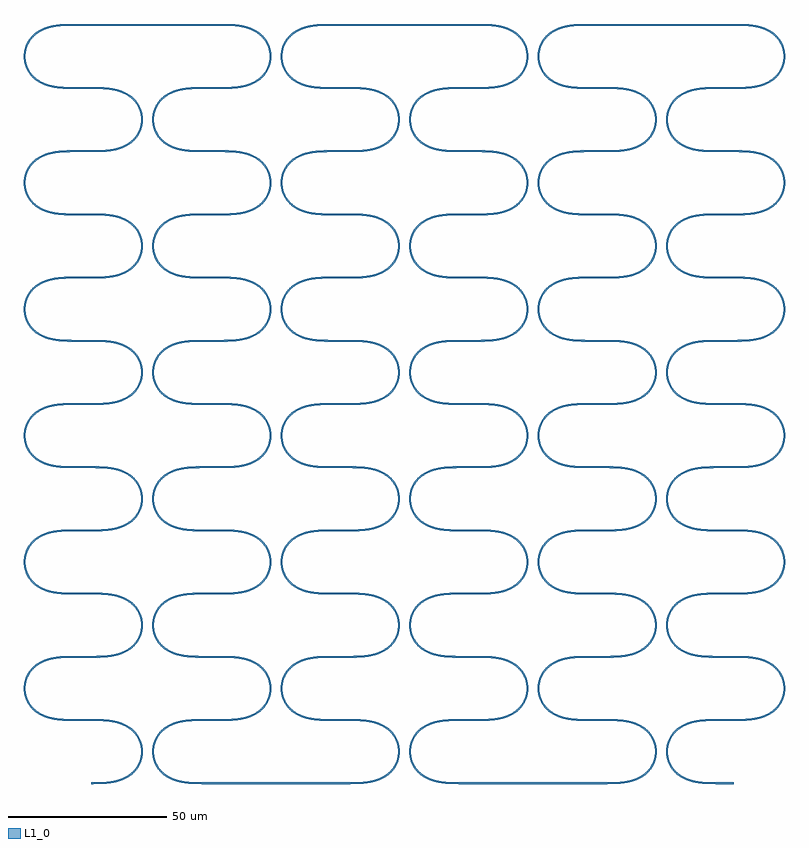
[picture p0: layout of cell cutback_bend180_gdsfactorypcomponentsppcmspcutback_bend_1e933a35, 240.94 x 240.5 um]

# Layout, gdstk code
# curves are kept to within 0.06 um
from math import pi, radians
import gdstk
lib = gdstk.Library(unit=1e-6, precision=1e-09)
def R(c, l, rs):  # rectangles x0, y0, x1, y1
    for r in rs: c.add(gdstk.rectangle(r[:2], r[2:], *l))
def P(c, l, *ps):  # polygons
    for p in ps: c.add(gdstk.Polygon(p, *l))
L1_0 = (1, 0)

bend_euler_gdsfactorypco = lib.new_cell('bend_euler_gdsfactorypcomponentspbendspbend_euler_RNone_4bc9c422')
P(bend_euler_gdsfactorypco, L1_0, [(0,-0.25),(0,0.25),(4.503,0.368),(6.214,0.563),(7.73,0.858),(9.845,1.539),(11.655,2.481),(12.614,3.182),(13.475,3.996),(14.121,4.779),(14.755,5.779),(15.188,6.697),(15.556,7.822),(15.77,8.987),(15.828,10),(15.77,11.013),(15.556,12.178),(15.188,13.303),(14.755,14.221),(14.121,15.221),(13.475,16.004),(12.614,16.818),(11.655,17.519),(9.845,18.461),(7.73,19.142),(6.214,19.437),(4.503,19.632),(0,19.75),(0,20.25),(4.192,20.156),(7.158,19.779),(8.531,19.447),(9.707,19.055),(10.844,18.555),(12.075,17.842),(13.594,16.602),(14.73,15.224),(15.583,13.655),(16.122,11.953),(16.267,11.071),(16.328,10),(16.157,8.222),(15.893,7.183),(15.583,6.345),(14.73,4.776),(13.594,3.398),(12.368,2.361),(10.844,1.445),(9.207,0.765),(7.331,0.256),(5.417,-0.047),(2.967,-0.217)])

straight_gdsfactorypcomp = lib.new_cell('straight_gdsfactorypcomponentspwaveguidespstraight_L5_N_32b584f5')
R(straight_gdsfactorypcomp, L1_0, [(0,-0.25,5,0.25)])

c_straight_gdsfactorypcomp = lib.new_cell('straight_gdsfactorypcomponentspwaveguidespstraight_L40p_f632f63e')
R(c_straight_gdsfactorypcomp, L1_0, [(0,-0.25,40.656,0.25)])

cutback_bend180_gdsfacto = lib.new_cell('cutback_bend180_gdsfactorypcomponentsppcmspcutback_bend_1e933a35')
cutback_bend180_gdsfacto.add(gdstk.Reference(bend_euler_gdsfactorypco, (-5,120), rotation=pi))
cutback_bend180_gdsfacto.add(gdstk.Reference(straight_gdsfactorypcomp, (-5,120)))
cutback_bend180_gdsfacto.add(gdstk.Reference(bend_euler_gdsfactorypco, (0,120)))
cutback_bend180_gdsfacto.add(gdstk.Reference(bend_euler_gdsfactorypco, (35.656,140), rotation=pi))
cutback_bend180_gdsfacto.add(gdstk.Reference(straight_gdsfactorypcomp, (35.656,120)))
cutback_bend180_gdsfacto.add(gdstk.Reference(bend_euler_gdsfactorypco, (40.656,100)))
cutback_bend180_gdsfacto.add(gdstk.Reference(bend_euler_gdsfactorypco, (76.312,120), rotation=pi))
cutback_bend180_gdsfacto.add(gdstk.Reference(straight_gdsfactorypcomp, (76.312,120)))
cutback_bend180_gdsfacto.add(gdstk.Reference(bend_euler_gdsfactorypco, (81.312,120)))
cutback_bend180_gdsfacto.add(gdstk.Reference(c_straight_gdsfactorypcomp, (81.312,240)))
cutback_bend180_gdsfacto.add(gdstk.Reference(bend_euler_gdsfactorypco, (116.968,140), rotation=pi))
cutback_bend180_gdsfacto.add(gdstk.Reference(straight_gdsfactorypcomp, (116.968,120)))
cutback_bend180_gdsfacto.add(gdstk.Reference(bend_euler_gdsfactorypco, (121.968,100)))
cutback_bend180_gdsfacto.add(gdstk.Reference(bend_euler_gdsfactorypco, (157.624,120), rotation=pi))
cutback_bend180_gdsfacto.add(gdstk.Reference(straight_gdsfactorypcomp, (157.624,120)))
cutback_bend180_gdsfacto.add(gdstk.Reference(bend_euler_gdsfactorypco, (162.624,120)))
cutback_bend180_gdsfacto.add(gdstk.Reference(bend_euler_gdsfactorypco, (198.28,140), rotation=pi))
cutback_bend180_gdsfacto.add(gdstk.Reference(straight_gdsfactorypcomp, (198.28,120)))
cutback_bend180_gdsfacto.add(gdstk.Reference(bend_euler_gdsfactorypco, (203.28,100)))
cutback_bend180_gdsfacto.add(gdstk.Reference(straight_gdsfactorypcomp, (121.968,140), rotation=pi))
cutback_bend180_gdsfacto.add(gdstk.Reference(bend_euler_gdsfactorypco, (121.968,220)))
cutback_bend180_gdsfacto.add(gdstk.Reference(straight_gdsfactorypcomp, (121.968,220), rotation=pi))
cutback_bend180_gdsfacto.add(gdstk.Reference(bend_euler_gdsfactorypco, (116.968,220), rotation=pi))
cutback_bend180_gdsfacto.add(gdstk.Reference(straight_gdsfactorypcomp, (116.968,200)))
cutback_bend180_gdsfacto.add(gdstk.Reference(bend_euler_gdsfactorypco, (121.968,180)))
cutback_bend180_gdsfacto.add(gdstk.Reference(straight_gdsfactorypcomp, (121.968,180), rotation=pi))
cutback_bend180_gdsfacto.add(gdstk.Reference(straight_gdsfactorypcomp, (162.624,140), rotation=pi))
cutback_bend180_gdsfacto.add(gdstk.Reference(bend_euler_gdsfactorypco, (157.624,160), rotation=pi))
cutback_bend180_gdsfacto.add(gdstk.Reference(straight_gdsfactorypcomp, (157.624,160)))
cutback_bend180_gdsfacto.add(gdstk.Reference(bend_euler_gdsfactorypco, (162.624,160)))
cutback_bend180_gdsfacto.add(gdstk.Reference(straight_gdsfactorypcomp, (162.624,180), rotation=pi))
cutback_bend180_gdsfacto.add(gdstk.Reference(bend_euler_gdsfactorypco, (157.624,200), rotation=pi))
cutback_bend180_gdsfacto.add(gdstk.Reference(straight_gdsfactorypcomp, (157.624,200)))
cutback_bend180_gdsfacto.add(gdstk.Reference(bend_euler_gdsfactorypco, (162.624,200)))
cutback_bend180_gdsfacto.add(gdstk.Reference(straight_gdsfactorypcomp, (162.624,220), rotation=pi))
cutback_bend180_gdsfacto.add(gdstk.Reference(bend_euler_gdsfactorypco, (157.624,240), rotation=pi))
cutback_bend180_gdsfacto.add(gdstk.Reference(straight_gdsfactorypcomp, (157.624,240)))
cutback_bend180_gdsfacto.add(gdstk.Reference(c_straight_gdsfactorypcomp, (162.624,240)))
cutback_bend180_gdsfacto.add(gdstk.Reference(bend_euler_gdsfactorypco, (203.28,220)))
cutback_bend180_gdsfacto.add(gdstk.Reference(straight_gdsfactorypcomp, (203.28,220), rotation=pi))
cutback_bend180_gdsfacto.add(gdstk.Reference(bend_euler_gdsfactorypco, (198.28,220), rotation=pi))
cutback_bend180_gdsfacto.add(gdstk.Reference(straight_gdsfactorypcomp, (198.28,200)))
cutback_bend180_gdsfacto.add(gdstk.Reference(bend_euler_gdsfactorypco, (203.28,180)))
cutback_bend180_gdsfacto.add(gdstk.Reference(straight_gdsfactorypcomp, (203.28,180), rotation=pi))
cutback_bend180_gdsfacto.add(gdstk.Reference(bend_euler_gdsfactorypco, (198.28,180), rotation=pi))
cutback_bend180_gdsfacto.add(gdstk.Reference(straight_gdsfactorypcomp, (198.28,160)))
cutback_bend180_gdsfacto.add(gdstk.Reference(bend_euler_gdsfactorypco, (203.28,140)))
cutback_bend180_gdsfacto.add(gdstk.Reference(straight_gdsfactorypcomp, (203.28,140), rotation=pi))
cutback_bend180_gdsfacto.add(gdstk.Reference(bend_euler_gdsfactorypco, (116.968,180), rotation=pi))
cutback_bend180_gdsfacto.add(gdstk.Reference(straight_gdsfactorypcomp, (116.968,160)))
cutback_bend180_gdsfacto.add(gdstk.Reference(bend_euler_gdsfactorypco, (121.968,140)))
cutback_bend180_gdsfacto.add(gdstk.Reference(straight_gdsfactorypcomp, (35.656,200)))
cutback_bend180_gdsfacto.add(gdstk.Reference(bend_euler_gdsfactorypco, (40.656,180)))
cutback_bend180_gdsfacto.add(gdstk.Reference(straight_gdsfactorypcomp, (40.656,180), rotation=pi))
cutback_bend180_gdsfacto.add(gdstk.Reference(bend_euler_gdsfactorypco, (35.656,180), rotation=pi))
cutback_bend180_gdsfacto.add(gdstk.Reference(straight_gdsfactorypcomp, (35.656,160)))
cutback_bend180_gdsfacto.add(gdstk.Reference(bend_euler_gdsfactorypco, (40.656,140)))
cutback_bend180_gdsfacto.add(gdstk.Reference(straight_gdsfactorypcomp, (40.656,140), rotation=pi))
cutback_bend180_gdsfacto.add(gdstk.Reference(straight_gdsfactorypcomp, (0,140), rotation=pi))
cutback_bend180_gdsfacto.add(gdstk.Reference(bend_euler_gdsfactorypco, (-5,160), rotation=pi))
cutback_bend180_gdsfacto.add(gdstk.Reference(straight_gdsfactorypcomp, (-5,160)))
cutback_bend180_gdsfacto.add(gdstk.Reference(bend_euler_gdsfactorypco, (0,160)))
cutback_bend180_gdsfacto.add(gdstk.Reference(straight_gdsfactorypcomp, (0,180), rotation=pi))
cutback_bend180_gdsfacto.add(gdstk.Reference(bend_euler_gdsfactorypco, (-5,200), rotation=pi))
cutback_bend180_gdsfacto.add(gdstk.Reference(straight_gdsfactorypcomp, (81.312,140), rotation=pi))
cutback_bend180_gdsfacto.add(gdstk.Reference(bend_euler_gdsfactorypco, (76.312,160), rotation=pi))
cutback_bend180_gdsfacto.add(gdstk.Reference(straight_gdsfactorypcomp, (76.312,160)))
cutback_bend180_gdsfacto.add(gdstk.Reference(bend_euler_gdsfactorypco, (81.312,160)))
cutback_bend180_gdsfacto.add(gdstk.Reference(straight_gdsfactorypcomp, (81.312,180), rotation=pi))
cutback_bend180_gdsfacto.add(gdstk.Reference(bend_euler_gdsfactorypco, (76.312,200), rotation=pi))
cutback_bend180_gdsfacto.add(gdstk.Reference(straight_gdsfactorypcomp, (76.312,200)))
cutback_bend180_gdsfacto.add(gdstk.Reference(bend_euler_gdsfactorypco, (81.312,200)))
cutback_bend180_gdsfacto.add(gdstk.Reference(straight_gdsfactorypcomp, (81.312,220), rotation=pi))
cutback_bend180_gdsfacto.add(gdstk.Reference(bend_euler_gdsfactorypco, (76.312,240), rotation=pi))
cutback_bend180_gdsfacto.add(gdstk.Reference(straight_gdsfactorypcomp, (76.312,240)))
cutback_bend180_gdsfacto.add(gdstk.Reference(straight_gdsfactorypcomp, (-5,200)))
cutback_bend180_gdsfacto.add(gdstk.Reference(bend_euler_gdsfactorypco, (0,200)))
cutback_bend180_gdsfacto.add(gdstk.Reference(straight_gdsfactorypcomp, (0,220), rotation=pi))
cutback_bend180_gdsfacto.add(gdstk.Reference(bend_euler_gdsfactorypco, (-5,240), rotation=pi))
cutback_bend180_gdsfacto.add(gdstk.Reference(straight_gdsfactorypcomp, (-5,240)))
cutback_bend180_gdsfacto.add(gdstk.Reference(c_straight_gdsfactorypcomp, (0,240)))
cutback_bend180_gdsfacto.add(gdstk.Reference(bend_euler_gdsfactorypco, (40.656,220)))
cutback_bend180_gdsfacto.add(gdstk.Reference(straight_gdsfactorypcomp, (40.656,220), rotation=pi))
cutback_bend180_gdsfacto.add(gdstk.Reference(bend_euler_gdsfactorypco, (35.656,220), rotation=pi))
cutback_bend180_gdsfacto.add(gdstk.Reference(bend_euler_gdsfactorypco, (76.312,40), rotation=pi))
cutback_bend180_gdsfacto.add(gdstk.Reference(straight_gdsfactorypcomp, (76.312,40)))
cutback_bend180_gdsfacto.add(gdstk.Reference(bend_euler_gdsfactorypco, (81.312,40)))
cutback_bend180_gdsfacto.add(gdstk.Reference(straight_gdsfactorypcomp, (81.312,60), rotation=pi))
cutback_bend180_gdsfacto.add(gdstk.Reference(bend_euler_gdsfactorypco, (76.312,80), rotation=pi))
cutback_bend180_gdsfacto.add(gdstk.Reference(straight_gdsfactorypcomp, (76.312,80)))
cutback_bend180_gdsfacto.add(gdstk.Reference(bend_euler_gdsfactorypco, (81.312,80)))
cutback_bend180_gdsfacto.add(gdstk.Reference(straight_gdsfactorypcomp, (81.312,100), rotation=pi))
cutback_bend180_gdsfacto.add(gdstk.Reference(bend_euler_gdsfactorypco, (0,80)))
cutback_bend180_gdsfacto.add(gdstk.Reference(straight_gdsfactorypcomp, (0,100), rotation=pi))
cutback_bend180_gdsfacto.add(gdstk.Reference(bend_euler_gdsfactorypco, (0,0)))
cutback_bend180_gdsfacto.add(gdstk.Reference(straight_gdsfactorypcomp, (0,20), rotation=pi))
cutback_bend180_gdsfacto.add(gdstk.Reference(bend_euler_gdsfactorypco, (-5,40), rotation=pi))
cutback_bend180_gdsfacto.add(gdstk.Reference(straight_gdsfactorypcomp, (-5,40)))
cutback_bend180_gdsfacto.add(gdstk.Reference(bend_euler_gdsfactorypco, (0,40)))
cutback_bend180_gdsfacto.add(gdstk.Reference(straight_gdsfactorypcomp, (0,60), rotation=pi))
cutback_bend180_gdsfacto.add(gdstk.Reference(bend_euler_gdsfactorypco, (-5,80), rotation=pi))
cutback_bend180_gdsfacto.add(gdstk.Reference(straight_gdsfactorypcomp, (-5,80)))
cutback_bend180_gdsfacto.add(gdstk.Reference(straight_gdsfactorypcomp, (40.656,100), rotation=pi))
cutback_bend180_gdsfacto.add(gdstk.Reference(bend_euler_gdsfactorypco, (35.656,100), rotation=pi))
cutback_bend180_gdsfacto.add(gdstk.Reference(straight_gdsfactorypcomp, (35.656,80)))
cutback_bend180_gdsfacto.add(gdstk.Reference(bend_euler_gdsfactorypco, (40.656,60)))
cutback_bend180_gdsfacto.add(gdstk.Reference(straight_gdsfactorypcomp, (40.656,60), rotation=pi))
cutback_bend180_gdsfacto.add(gdstk.Reference(bend_euler_gdsfactorypco, (35.656,60), rotation=pi))
cutback_bend180_gdsfacto.add(gdstk.Reference(straight_gdsfactorypcomp, (35.656,40)))
cutback_bend180_gdsfacto.add(gdstk.Reference(bend_euler_gdsfactorypco, (40.656,20)))
cutback_bend180_gdsfacto.add(gdstk.Reference(straight_gdsfactorypcomp, (40.656,20), rotation=pi))
cutback_bend180_gdsfacto.add(gdstk.Reference(bend_euler_gdsfactorypco, (35.656,20), rotation=pi))
cutback_bend180_gdsfacto.add(gdstk.Reference(straight_gdsfactorypcomp, (35.656,0)))
cutback_bend180_gdsfacto.add(gdstk.Reference(c_straight_gdsfactorypcomp, (40.656,0)))
cutback_bend180_gdsfacto.add(gdstk.Reference(bend_euler_gdsfactorypco, (81.312,0)))
cutback_bend180_gdsfacto.add(gdstk.Reference(straight_gdsfactorypcomp, (81.312,20), rotation=pi))
cutback_bend180_gdsfacto.add(gdstk.Reference(straight_gdsfactorypcomp, (116.968,40)))
cutback_bend180_gdsfacto.add(gdstk.Reference(bend_euler_gdsfactorypco, (121.968,20)))
cutback_bend180_gdsfacto.add(gdstk.Reference(straight_gdsfactorypcomp, (121.968,20), rotation=pi))
cutback_bend180_gdsfacto.add(gdstk.Reference(bend_euler_gdsfactorypco, (116.968,20), rotation=pi))
cutback_bend180_gdsfacto.add(gdstk.Reference(straight_gdsfactorypcomp, (116.968,0)))
cutback_bend180_gdsfacto.add(gdstk.Reference(c_straight_gdsfactorypcomp, (121.968,0)))
cutback_bend180_gdsfacto.add(gdstk.Reference(bend_euler_gdsfactorypco, (162.624,0)))
cutback_bend180_gdsfacto.add(gdstk.Reference(straight_gdsfactorypcomp, (162.624,20), rotation=pi))
cutback_bend180_gdsfacto.add(gdstk.Reference(bend_euler_gdsfactorypco, (157.624,40), rotation=pi))
cutback_bend180_gdsfacto.add(gdstk.Reference(straight_gdsfactorypcomp, (157.624,40)))
cutback_bend180_gdsfacto.add(gdstk.Reference(bend_euler_gdsfactorypco, (162.624,40)))
cutback_bend180_gdsfacto.add(gdstk.Reference(straight_gdsfactorypcomp, (162.624,60), rotation=pi))
cutback_bend180_gdsfacto.add(gdstk.Reference(bend_euler_gdsfactorypco, (157.624,80), rotation=pi))
cutback_bend180_gdsfacto.add(gdstk.Reference(straight_gdsfactorypcomp, (157.624,80)))
cutback_bend180_gdsfacto.add(gdstk.Reference(bend_euler_gdsfactorypco, (162.624,80)))
cutback_bend180_gdsfacto.add(gdstk.Reference(straight_gdsfactorypcomp, (162.624,100), rotation=pi))
cutback_bend180_gdsfacto.add(gdstk.Reference(straight_gdsfactorypcomp, (121.968,100), rotation=pi))
cutback_bend180_gdsfacto.add(gdstk.Reference(bend_euler_gdsfactorypco, (116.968,100), rotation=pi))
cutback_bend180_gdsfacto.add(gdstk.Reference(straight_gdsfactorypcomp, (116.968,80)))
cutback_bend180_gdsfacto.add(gdstk.Reference(bend_euler_gdsfactorypco, (121.968,60)))
cutback_bend180_gdsfacto.add(gdstk.Reference(straight_gdsfactorypcomp, (121.968,60), rotation=pi))
cutback_bend180_gdsfacto.add(gdstk.Reference(bend_euler_gdsfactorypco, (116.968,60), rotation=pi))
cutback_bend180_gdsfacto.add(gdstk.Reference(straight_gdsfactorypcomp, (203.28,100), rotation=pi))
cutback_bend180_gdsfacto.add(gdstk.Reference(bend_euler_gdsfactorypco, (198.28,100), rotation=pi))
cutback_bend180_gdsfacto.add(gdstk.Reference(straight_gdsfactorypcomp, (198.28,80)))
cutback_bend180_gdsfacto.add(gdstk.Reference(bend_euler_gdsfactorypco, (203.28,60)))
cutback_bend180_gdsfacto.add(gdstk.Reference(straight_gdsfactorypcomp, (203.28,60), rotation=pi))
cutback_bend180_gdsfacto.add(gdstk.Reference(bend_euler_gdsfactorypco, (198.28,60), rotation=pi))
cutback_bend180_gdsfacto.add(gdstk.Reference(straight_gdsfactorypcomp, (198.28,40)))
cutback_bend180_gdsfacto.add(gdstk.Reference(bend_euler_gdsfactorypco, (203.28,20)))
cutback_bend180_gdsfacto.add(gdstk.Reference(straight_gdsfactorypcomp, (203.28,20), rotation=pi))
cutback_bend180_gdsfacto.add(gdstk.Reference(bend_euler_gdsfactorypco, (198.28,20), rotation=pi))
cutback_bend180_gdsfacto.add(gdstk.Reference(straight_gdsfactorypcomp, (198.28,0)))

lib.write_gds('cutback_bend180_gdsfactorypcomponentsppcmspcutback_bend_1e933a35.gds')
